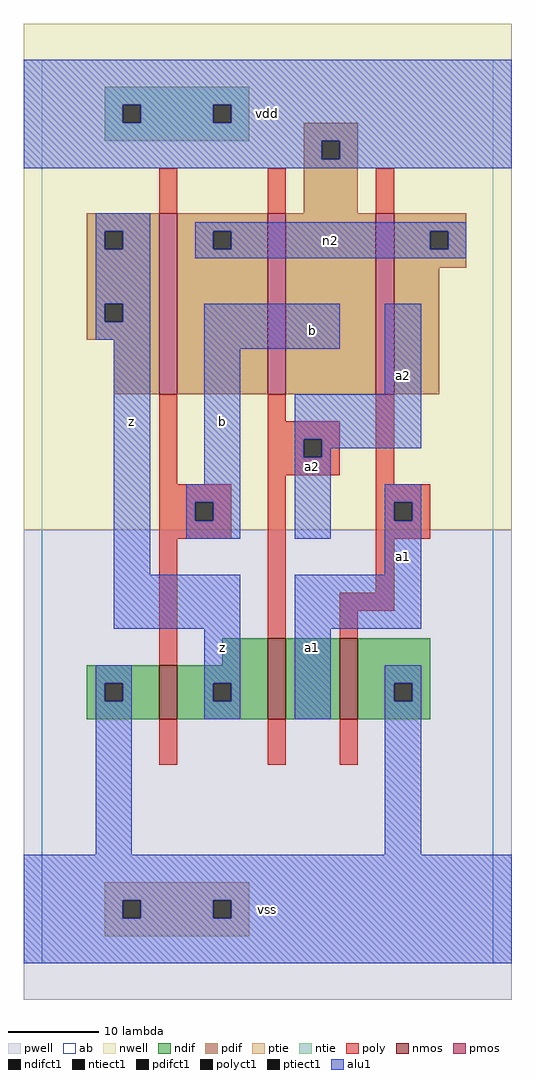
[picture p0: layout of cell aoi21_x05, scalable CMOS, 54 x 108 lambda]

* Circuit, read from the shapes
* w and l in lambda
.subckt aoi21_x05 a1 a2 b n2 vdd vss z
M1 z b vss vss nfet w=6 l=2
M2 n1 a2 z vss nfet w=9 l=2
M3 vss a1 n1 vss nfet w=9 l=2
M4 n2 b z vdd pfet w=20 l=2
M5 vdd a2 n2 vdd pfet w=20 l=2
M6 n2 a1 vdd vdd pfet w=20 l=2
.ends

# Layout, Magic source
magic
tech scmos
<< ab >>
rect 0 0 50 100
<< nwell >>
rect -2 48 52 104
<< pwell >>
rect -2 -4 52 48
<< poly >>
rect 13 83 15 88
rect 25 83 27 88
rect 37 83 39 88
rect 13 53 15 63
rect 25 60 27 63
rect 25 58 33 60
rect 25 56 29 58
rect 31 56 33 58
rect 25 54 33 56
rect 13 51 21 53
rect 13 49 17 51
rect 19 49 21 51
rect 13 47 21 49
rect 13 33 15 47
rect 25 36 27 54
rect 37 53 39 63
rect 37 51 43 53
rect 37 49 39 51
rect 41 49 43 51
rect 37 47 43 49
rect 37 41 39 47
rect 33 39 39 41
rect 33 36 35 39
rect 13 22 15 27
rect 25 22 27 27
rect 33 22 35 27
<< ndif >>
rect 20 33 25 36
rect 5 31 13 33
rect 5 29 7 31
rect 9 29 13 31
rect 5 27 13 29
rect 15 31 25 33
rect 15 29 19 31
rect 21 29 25 31
rect 15 27 25 29
rect 27 27 33 36
rect 35 31 43 36
rect 35 29 39 31
rect 41 29 43 31
rect 35 27 43 29
<< pdif >>
rect 29 91 35 93
rect 29 89 31 91
rect 33 89 35 91
rect 29 83 35 89
rect 5 81 13 83
rect 5 79 7 81
rect 9 79 13 81
rect 5 73 13 79
rect 5 71 7 73
rect 9 71 13 73
rect 5 69 13 71
rect 8 63 13 69
rect 15 81 25 83
rect 15 79 19 81
rect 21 79 25 81
rect 15 63 25 79
rect 27 63 37 83
rect 39 81 47 83
rect 39 79 43 81
rect 45 79 47 81
rect 39 77 47 79
rect 39 63 44 77
<< alu1 >>
rect -2 95 52 100
rect -2 93 9 95
rect 11 93 19 95
rect 21 93 52 95
rect -2 91 52 93
rect -2 89 31 91
rect 33 89 52 91
rect -2 88 52 89
rect 6 81 12 83
rect 6 79 7 81
rect 9 79 12 81
rect 6 73 12 79
rect 17 81 47 82
rect 17 79 19 81
rect 21 79 43 81
rect 45 79 47 81
rect 17 78 47 79
rect 6 71 7 73
rect 9 71 12 73
rect 6 69 12 71
rect 8 43 12 69
rect 18 68 33 73
rect 18 53 22 68
rect 38 63 42 73
rect 16 51 22 53
rect 16 49 17 51
rect 19 49 22 51
rect 16 47 22 49
rect 28 58 42 63
rect 28 56 29 58
rect 31 57 42 58
rect 31 56 32 57
rect 28 47 32 56
rect 38 51 42 53
rect 38 49 39 51
rect 41 49 42 51
rect 38 43 42 49
rect 8 37 22 43
rect 6 31 10 33
rect 6 29 7 31
rect 9 29 10 31
rect 6 12 10 29
rect 18 31 22 37
rect 18 29 19 31
rect 21 29 22 31
rect 18 27 22 29
rect 28 37 42 43
rect 28 27 32 37
rect 38 31 42 33
rect 38 29 39 31
rect 41 29 42 31
rect 38 12 42 29
rect -2 7 52 12
rect -2 5 9 7
rect 11 5 19 7
rect 21 5 52 7
rect -2 0 52 5
<< ptie >>
rect 7 7 23 9
rect 7 5 9 7
rect 11 5 19 7
rect 21 5 23 7
rect 7 3 23 5
<< ntie >>
rect 7 95 23 97
rect 7 93 9 95
rect 11 93 19 95
rect 21 93 23 95
rect 7 91 23 93
<< nmos >>
rect 13 27 15 33
rect 25 27 27 36
rect 33 27 35 36
<< pmos >>
rect 13 63 15 83
rect 25 63 27 83
rect 37 63 39 83
<< polyct1 >>
rect 29 56 31 58
rect 17 49 19 51
rect 39 49 41 51
<< ndifct1 >>
rect 7 29 9 31
rect 19 29 21 31
rect 39 29 41 31
<< ntiect1 >>
rect 9 93 11 95
rect 19 93 21 95
<< ptiect1 >>
rect 9 5 11 7
rect 19 5 21 7
<< pdifct1 >>
rect 31 89 33 91
rect 7 79 9 81
rect 7 71 9 73
rect 19 79 21 81
rect 43 79 45 81
<< labels >>
rlabel alu1 20 35 20 35 6 z
rlabel alu1 10 60 10 60 6 z
rlabel alu1 20 60 20 60 6 b
rlabel alu1 25 6 25 6 6 vss
rlabel alu1 30 35 30 35 6 a1
rlabel alu1 30 70 30 70 6 b
rlabel alu1 30 55 30 55 6 a2
rlabel alu1 25 94 25 94 6 vdd
rlabel alu1 40 45 40 45 6 a1
rlabel alu1 40 65 40 65 6 a2
rlabel alu1 32 80 32 80 6 n2
<< end >>
